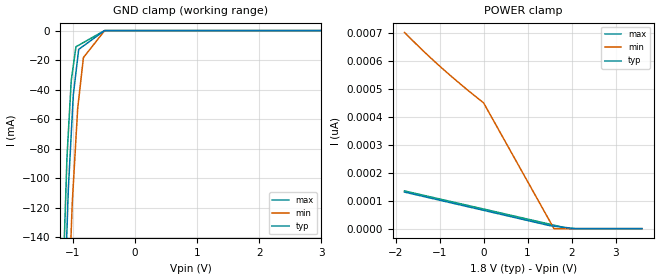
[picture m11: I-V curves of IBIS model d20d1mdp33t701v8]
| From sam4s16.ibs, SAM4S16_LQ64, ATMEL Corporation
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[Model] d20d1mdp33t701v8
| config_pins "NO PIN CONFIG TO SEARCH"
Model_type   Input
Vinl = 0.4
Vinh = 1.4
|   typ   min   max
C_comp   2.134e-12   2.079e-12   2.196e-12
|C_comp (ON state)   2.134e-12   2.079e-12   2.196e-12
|C_comp (OFF state)   2.134e-12   2.079e-12   2.196e-12
[Voltage Range]   1.8   1.6   1.95
[Temperature Range]   25   125   -40
[Power Clamp Reference]   1.8   1.6   1.95
[GND Clamp Reference]   0   0   0
[GND Clamp]
|   Voltage   I(typ)   I(min)   I(max)
-1.8V     -1.36A     -1.382A    -1.341A
-1.184V   -254.7mA   -340.2mA   -207.9mA
-1.114V   -164.6mA   -238.7mA   -116.2mA
-1.092V   -137.1mA   -214.5mA   -88.2mA
-1.067V   -106.7mA   -186.8mA   -68.53mA
-1.022V   -70.3mA    -135.5mA   -33.91mA
-988.2mV  -43.5mA    -104.2mA   -23.77mA
-945.7mV  -28.39mA   -73.04mA   -10.96mA
-901.8mV  -12.74mA   -46.76mA   -9.911mA
-825.6mV  -10.41mA   -18.27mA   -8.097mA
-484.8mV  -5.805uA   -86.79uA   -1.851uA
3.6V      0A         0A         0A
[POWER Clamp]
|   Voltage   I(typ)   I(min)   I(max)
-1.8V     130.9pA    702.2pA    135pA
-1.35V    114.5pA    632.6pA    118.8pA
-936mV    99.48pA    572.8pA    103.9pA
0V        65.55pA    450pA      70.2pA
1.6V      8.886pA    0A         12.6pA
1.95V     2.651pA    0A         0A
2.099V    0A         0A         0A
3.6V      0A         0A         0A
